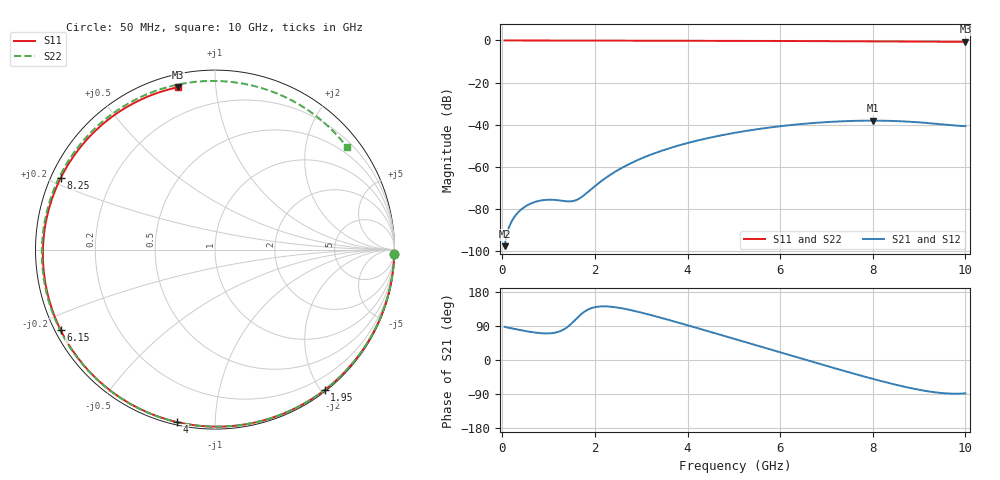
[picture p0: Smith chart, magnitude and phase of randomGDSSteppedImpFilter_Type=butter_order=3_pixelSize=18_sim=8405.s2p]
! freq	dB(S11)	phase(S11)	dB(S12)	phase(S12)
!  dB(S21)	phase(S21)	dB(S22)	phase(S22)
!S-par simulation data
#  GHz  S  DB  R 50
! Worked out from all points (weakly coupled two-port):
!   200 points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, 50 MHz to 10 GHz, reference 50 ohm
!   highest |S21| = -38.12 dB at 8 GHz (marker M1); lowest = -97.8 dB at 50 MHz (marker M2)
!   lowest |S11| = -0.7 dB at 10 GHz (marker M3), VSWR 26.58, Z = 3.08 + j39.8 ohm
!   |S11| at or under -10 dB: nowhere
!   |S22| runs from -0.6 to 0.0 dB; largest |S21 - S12| = 0
!   S11 on the Smith chart (normalised r, x): 50 MHz: 3, -86; 1.95 GHz: 0.02, -2.05; 4 GHz: 0.01, -0.80; 6.15 GHz: 0.02, -0.24; 8.25 GHz: 0.03, +0.22; 10 GHz: 0.06, +0.80
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0.05  -0.01 -1.3  -97.79 87.7  -97.79 87.7  -0.00 -1.5
0.4  -0.02 -10.9  -80.51 78.7  -80.51 78.7  -0.02 -12.3
0.65  -0.02 -17.7  -77.22 73.4  -77.22 73.4  -0.03 -19.9
0.9  -0.03 -24.4  -75.86 70.3  -75.86 70.3  -0.04 -27.5
1.5  -0.05 -40.3  -76.45 96.9  -76.45 96.9  -0.06 -45.5
1.75  -0.06 -46.8  -73.82 125.4  -73.82 125.4  -0.07 -52.8
1.95  -0.07 -52.0  -70.19 137.8  -70.19 137.8  -0.07 -58.7
2.6  -0.09 -68.5  -60.35 136.0  -60.35 136.0  -0.10 -77.5
3.4  -0.11 -88.2  -52.75 112.3  -52.75 112.3  -0.13 -100.2
4  -0.14 -102.5  -48.77 91.7  -48.77 91.7  -0.16 -117.0
5.05  -0.19 -127.0  -43.79 54.3  -43.79 54.3  -0.22 -146.6
5.6  -0.23 -139.7  -41.90 34.6  -41.90 34.6  -0.26 -162.7
6.15  -0.27 -152.6  -40.40 14.8  -40.40 14.8  -0.31 -179.3
6.7  -0.31 -165.6  -39.28 -4.9  -39.28 -4.9  -0.36 163.2
7.35  -0.37 178.4  -38.42 -27.8  -38.42 -27.8  -0.42 141.2
8  -0.44 161.7  -38.12 -49.8  -38.12 -49.8  -0.48 117.5
8.25  -0.47 155.0  -38.17 -57.8  -38.17 -57.8  -0.50 108.0
8.35  -0.48 152.3  -38.22 -60.9  -38.22 -60.9  -0.51 104.1
8.75  -0.52 141.0  -38.58 -72.4  -38.58 -72.4  -0.54 88.3
9.15  -0.56 129.3  -39.19 -81.8  -39.19 -81.8  -0.57 72.1
9.55  -0.61 117.1  -40.00 -87.8  -40.00 -87.8  -0.60 55.9
10  -0.65 102.8  -40.74 -88.2  -40.74 -88.2  -0.62 37.8
